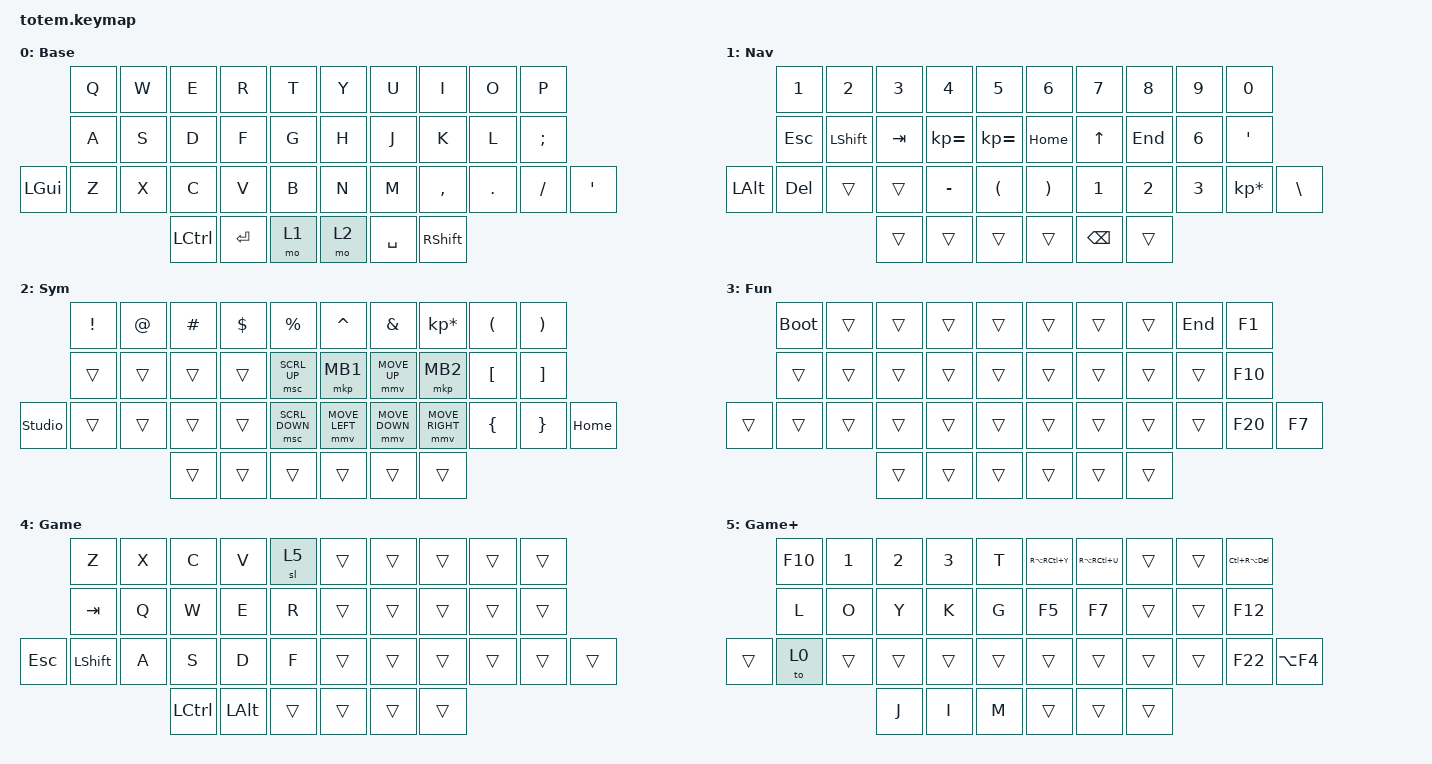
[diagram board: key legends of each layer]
//
//                                                        ▀▀▀▀▀     ▀▀▀▀▀          ▀▀█▀▀
//                                                        ▄▀▀▀▄  ▄  ▄▀▀▀▄  ▄  ▄▀▀▀▄  █  ▄▀▀▀▄
//                                                        █   █  █  █   █  █  █   █  █  █   █
//                                                         ▀▀▀   █   ▀▀▀   █   ▀▀▀   ▀   ▀▀▀
//                                                               █      ▄▄▄█▄▄▄    █   █  
//                                                               ▀      █  █  █     █▄█
//                                                             ▀▀▀▀▀    █  █  █      ▀
//                                                                      ▀  ▀  ▀
//
// ▄▄▄▄▄▄▄▄▄▄▄▄▄▄▄▄▄▄▄▄▄▄▄▄▄▄▄▄▄▄▄▄▄▄▄▄▄▄▄▄▄▄▄▄▄▄▄▄▄▄▄▄▄▄▄▄▄▄▄▄▄▄▄▄▄▄▄▄▄▄▄▄▄▄▄▄▄▄▄▄▄▄▄▄▄▄▄▄▄▄▄▄▄▄▄▄▄▄▄▄▄▄▄▄▄▄▄▄▄▄▄▄▄▄▄▄▄▄▄▄▄▄▄▄▄▄▄▄▄▄▄▄▄▄▄▄▄▄▄▄▄▄▄▄▄▄▄▄▄

#include <behaviors.dtsi>
#include <dt-bindings/zmk/keys.h>


#define ZMK_POINTING_DEFAULT_MOVE_VAL 1500  // default: 600
#define ZMK_POINTING_DEFAULT_SCRL_VAL 20    // default: 10
#include <dt-bindings/zmk/pointing.h>

#define Base        0
#define Nav         1
#define Sym         2
#define Fun         3
#define Game        4
#define Gameplus    5

&mt {
    quick-tap-ms = <100>;
    global-quick-tap;
    flavor = "tap-preferred";
    tapping-term-ms = <170>;
};

&lt {
    tapping-term-ms = <240>;
    flavor = "balanced";
    quick-tap-ms = <150>;
};

/ {
    behaviors {
        hm: homerow_mods {
            compatible = "zmk,behavior-hold-tap";
            label = "HOMEROW_MODS";
            #binding-cells = <2>;
            flavor = "tap-preferred";
            tapping-term-ms = <200>;
            quick-tap-ms = <125>;
            global-quick-tap;
            bindings = <&kp>, <&kp>;
        };
    };

    combos { compatible = "zmk,combos"; };

    keymap {
        compatible = "zmk,keymap";

        Base {
            display-name = "Base";
            bindings = <
              &kp Q       &kp W       &kp E          &kp R         &kp T        &kp Y    &kp U        &kp I        &kp O       &kp P
              &kp A       &kp S       &kp D          &kp F         &kp G        &kp H    &kp J        &kp K        &kp L       &kp SEMICOLON
&kp LEFT_GUI  &kp Z       &kp X       &kp C          &kp V         &kp B        &kp N    &kp M        &kp COMMA    &kp DOT     &kp SLASH           &kp APOSTROPHE
                                      &kp LEFT_CONTROL  &kp RETURN     &mo  1   &mo 2  &kp SPACE   &kp RSHIFT
            >;
        };

        Nav {
            display-name = "Nav";
            bindings = <
              &kp NUMBER_1      &kp NUMBER_2    &kp NUMBER_3    &kp NUMBER_4        &kp NUMBER_5    &kp NUMBER_6    &kp NUMBER_7  &kp NUMBER_8  &kp NUMBER_9  &kp NUMBER_0
              &kp ESCAPE        &kp LSHIFT      &kp TAB         &kp KP_EQUAL        &kp KP_EQUAL    &kp HOME        &kp UP      &kp END  &kp NUMBER_6  &kp APOS
&kp LEFT_ALT  &kp DEL           &trans       &trans          &kp MINUS            &kp LPAR        &kp RPAR        &kp NUMBER_1  &kp NUMBER_2  &kp NUMBER_3  &kp KP_MULTIPLY  &kp BACKSLASH
                                         &trans        &trans     &trans      &trans    &kp BSPC        &trans
            >;
        };

         Sym {
            display-name = "Sym";
            bindings = <
                &kp EXCL  &kp AT  &kp HASH  &kp DOLLAR  &kp PERCENT    &kp CARET  &kp AMPERSAND  &kp KP_ASTERISK  &kp LPAR  &kp RPAR
                &trans    &trans  &trans    &trans      &msc SCRL_UP         &mkp MB1     &mmv MOVE_UP         &mkp MB2     &kp LEFT_BRACKET   &kp RIGHT_BRACKET
&studio_unlock  &trans    &trans  &trans    &trans      &msc SCRL_DOWN         &mmv MOVE_LEFT  &mmv MOVE_DOWN      &mmv MOVE_RIGHT          &kp LEFT_BRACE   &kp RIGHT_BRACE  &kp HOME
                                  &trans    &trans      &trans         &trans     &trans         &trans
            >;
        };

        Fun {
            display-name = "Fun";
            bindings = <
        &bootloader  &trans  &trans  &trans  &trans   &trans  &trans  &trans  &kp END  &kp F1
        &trans       &trans  &trans  &trans  &trans    &trans  &trans  &trans  &trans   &kp F10
&trans  &trans       &trans  &trans  &trans  &trans    &trans  &trans  &trans  &trans   &kp F20  &kp F7
                             &trans  &trans  &trans    &trans  &trans  &trans
            >;
        };

        Gaming {
            display-name = "Game";
            bindings = <
            &kp Z           &kp X  &kp C      &kp V         &sl 5     &trans  &trans  &trans  &trans  &trans
            &kp TAB         &kp Q  &kp W      &kp E         &kp R     &trans  &trans  &trans  &trans  &trans
&kp ESCAPE  &kp LEFT_SHIFT  &kp A  &kp S      &kp D         &kp F     &trans  &trans  &trans  &trans  &trans  &trans
                                   &kp LCTRL  &kp LEFT_ALT  &trans    &trans  &trans  &trans
            >;
        };

        Gaming+ {
            display-name = "Game+";
            bindings = <
        &kp F10  &kp NUMBER_1  &kp NUMBER_2  &kp NUMBER_3  &kp T     &kp RA(RC(Y))  &kp RA(RC(U))  &trans  &trans  &kp LC(RA(DEL))
        &kp L    &kp O         &kp Y         &kp K         &kp G     &kp F5         &kp F7         &trans  &trans  &kp F12
&trans  &to 0    &trans        &trans        &trans        &trans    &trans         &trans         &trans  &trans  &kp F22          &kp LA(F4)
                               &kp J         &kp I         &kp M     &trans         &trans         &trans
            >;
        };
    };
};
